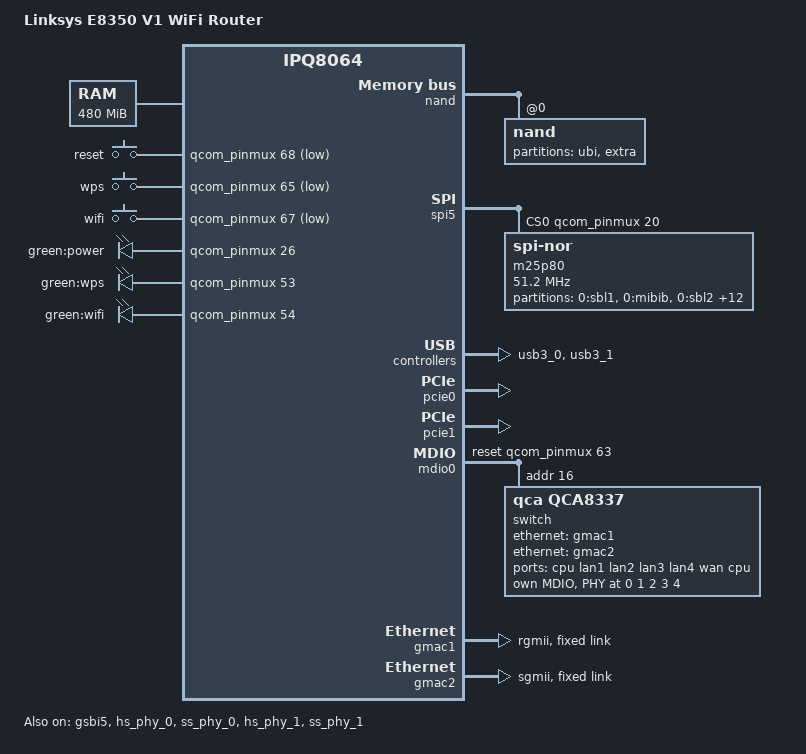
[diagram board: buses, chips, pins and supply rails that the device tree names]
// SPDX-License-Identifier: GPL-2.0-or-later OR MIT
#include "qcom-ipq8064-v2.0-smb208.dtsi"

#include <dt-bindings/input/input.h>
#include <dt-bindings/soc/qcom,tcsr.h>

/ {
	model = "Linksys E8350 V1 WiFi Router";
	compatible = "linksys,e8350-v1", "qcom,ipq8064";

	memory@0 {
		reg = <0x42000000 0x1e000000>;
		device_type = "memory";
	};

	aliases {
		serial0 = &gsbi4_serial;

		led-boot = &led_power;
		led-failsafe = &led_power;
		led-running = &led_power;
		led-upgrade = &led_power;
	};

	keys {
		compatible = "gpio-keys";
		pinctrl-0 = <&button_pins>;
		pinctrl-names = "default";

		reset {
			label = "reset";
			gpios = <&qcom_pinmux 68 GPIO_ACTIVE_LOW>;
			linux,code = <KEY_RESTART>;
			debounce-interval = <60>;
			wakeup-source;
		};

		wps {
			label = "wps";
			gpios = <&qcom_pinmux 65 GPIO_ACTIVE_LOW>;
			linux,code = <KEY_WPS_BUTTON>;
			debounce-interval = <60>;
			wakeup-source;
		};

		wifi {
			label = "wifi";
			gpios = <&qcom_pinmux 67 GPIO_ACTIVE_LOW>;
			linux,code = <KEY_RFKILL>;
			debounce-interval = <60>;
			wakeup-source;
		};
	};

	leds {
		compatible = "gpio-leds";
		pinctrl-0 = <&led_pins>;
		pinctrl-names = "default";

		led_power: power {
			label = "green:power";
			gpios = <&qcom_pinmux 26 GPIO_ACTIVE_HIGH>;
			default-state = "keep";
		};

		wps {
			label = "green:wps";
			gpios = <&qcom_pinmux 53 GPIO_ACTIVE_HIGH>;
		};

		wifi {
			label = "green:wifi";
			gpios = <&qcom_pinmux 54 GPIO_ACTIVE_HIGH>;
		};
	};
};

&nand {
	status = "okay";

	nand@0 {
		reg = <0>;

		nand-ecc-strength = <4>;
		nand-bus-width = <8>;

		partitions {
			compatible = "fixed-partitions";
			#address-cells = <1>;
			#size-cells = <1>;

			partition@0 {
				label = "ubi";
				reg = <0 0x4000000>;
			};
			partition@4000000 {
				label = "extra";
				reg = <0x4000000 0x4000000>;
			};
		};
	};
};

&qcom_pinmux {
	button_pins: button_pins {
		mux {
			pins = "gpio68","gpio65", "gpio67";
			function = "gpio";
			drive-strength = <2>;
			bias-pull-up;
		};
	};

	led_pins: led_pins {
		mux {
			pins = "gpio26","gpio53", "gpio54";
			function = "gpio";
			drive-strength = <2>;
			bias-pull-up;
		};
	};

	switch_reset: switch_reset_pins {
		mux {
			pins = "gpio63";
			function = "gpio";
			drive-strength = <12>;
			bias-pull-up;
		};
	};
};

&gsbi5 {
	qcom,mode = <GSBI_PROT_SPI>;
	status = "okay";

	spi5: spi@1a280000 {
		status = "okay";

		pinctrl-0 = <&spi_pins>;
		pinctrl-names = "default";

		cs-gpios = <&qcom_pinmux 20 GPIO_ACTIVE_HIGH>;

		m25p80@0 {
			compatible = "jedec,spi-nor";
			spi-max-frequency = <51200000>;
			reg = <0>;

			partitions {
				compatible = "fixed-partitions";
				#address-cells = <1>;
				#size-cells = <1>;

				partition@0 {
					label = "0:sbl1";
					reg = <0x0000000 0x0010000>;
					read-only;
				};

				partition@10000 {
					label = "0:mibib";
					reg = <0x0010000 0x0020000>;
					read-only;
				};

				partition@30000 {
					label = "0:sbl2";
					reg = <0x0030000 0x0020000>;
					read-only;
				};

				partition@50000 {
					label = "0:sbl3";
					reg = <0x0050000 0x0030000>;
					read-only;
				};

				partition@80000 {
					label = "0:ddrconfig";
					reg = <0x0080000 0x0010000>;
					read-only;
				};

				partition@90000 {
					label = "0:ssd";
					reg = <0x0090000 0x0010000>;
					read-only;
				};

				partition@a0000 {
					label = "0:tz";
					reg = <0x00a0000 0x0030000>;
					read-only;
				};

				partition@d0000 {
					label = "0:rpm";
					reg = <0x00d0000 0x0020000>;
					read-only;
				};

				partition@f0000 {
					label = "0:oldappsbl";
					reg = <0x00f0000 0x0040000>;
					read-only;
				};

				partition@130000 {
					label = "0:appsblenv";
					reg = <0x0130000 0x0040000>;
					read-only;
				};

				art: partition@170000 {
					label = "0:ART";
					reg = <0x0170000 0x0020000>;
					read-only;
				};

				partition@190000 {
					label = "0:uboot";
					reg = <0x0190000 0x0050000>;
					read-only;
				};

				partition@1e0000 {
					label = "0:oldnss1";
					reg = <0x01e0000 0x0020000>;
					read-only;
				};

				partition@200000 {
					label = "0:nvram";
					reg = <0x0200000 0x0020000>;
					read-only;
				};

				partition@220000 {
					label = "0:oldkernel";
					reg = <0x0220000 0x01e0000>;
					read-only;
				};
			};
		};
	};
};

&hs_phy_0 {
	status = "okay";
};

&ss_phy_0 {
	status = "okay";
};

&usb3_0 {
	status = "okay";
};

&hs_phy_1 {
	status = "okay";
};

&ss_phy_1 {
	status = "okay";
};

&usb3_1 {
	status = "okay";
};

&pcie0 {
	status = "okay";

	max-link-speed = <1>;
};

&pcie1 {
	status = "okay";
};

&mdio0 {
	status = "okay";

	pinctrl-0 = <&mdio0_pins>;
	pinctrl-names = "default";

	/* Switch from documentation require at least 12ms for reset */
	reset-gpios = <&qcom_pinmux 63 GPIO_ACTIVE_HIGH>;
	reset-post-delay-us = <12000>;

	switch@10 {
		compatible = "qca,qca8337";
		#address-cells = <1>;
		#size-cells = <0>;
		reg = <0x10>;

		ports {
			#address-cells = <1>;
			#size-cells = <0>;

			port@0 {
				reg = <0>;
				label = "cpu";
				ethernet = <&gmac1>;
				phy-mode = "rgmii";
				tx-internal-delay-ps = <1000>;
				rx-internal-delay-ps = <1000>;

				fixed-link {
					speed = <1000>;
					full-duplex;
				};
			};

			port@1 {
				reg = <1>;
				label = "lan1";
				phy-mode = "internal";
				phy-handle = <&phy_port1>;
			};

			port@2 {
				reg = <2>;
				label = "lan2";
				phy-mode = "internal";
				phy-handle = <&phy_port2>;
			};

			port@3 {
				reg = <3>;
				label = "lan3";
				phy-mode = "internal";
				phy-handle = <&phy_port3>;
			};

			port@4 {
				reg = <4>;
				label = "lan4";
				phy-mode = "internal";
				phy-handle = <&phy_port4>;
			};

			port@5 {
				reg = <5>;
				label = "wan";
				phy-mode = "internal";
				phy-handle = <&phy_port5>;
			};

			port@6 {
				reg = <6>;
				label = "cpu";
				ethernet = <&gmac2>;
				phy-mode = "sgmii";
				qca,sgmii-enable-pll;

				fixed-link {
					speed = <1000>;
					full-duplex;
				};
			};
		};

		mdio {
			#address-cells = <1>;
			#size-cells = <0>;

			phy_port1: phy@0 {
				reg = <0>;
			};

			phy_port2: phy@1 {
				reg = <1>;
			};

			phy_port3: phy@2 {
				reg = <2>;
			};

			phy_port4: phy@3 {
				reg = <3>;
			};

			phy_port5: phy@4 {
				reg = <4>;
			};
		};
	};
};

&gmac1 {
	status = "okay";

	phy-mode = "rgmii";
	qcom,id = <1>;

	pinctrl-0 = <&rgmii2_pins>;
	pinctrl-names = "default";

	fixed-link {
		speed = <1000>;
		full-duplex;
	};
};

&gmac2 {
	status = "okay";

	phy-mode = "sgmii";
	qcom,id = <2>;

	fixed-link {
		speed = <1000>;
		full-duplex;
	};
};

&tcsr {
	qcom,usb-ctrl-select = <TCSR_USB_SELECT_USB3_DUAL>;
	compatible = "qcom,tcsr", "syscon";
};

&adm_dma {
	status = "okay";
};
